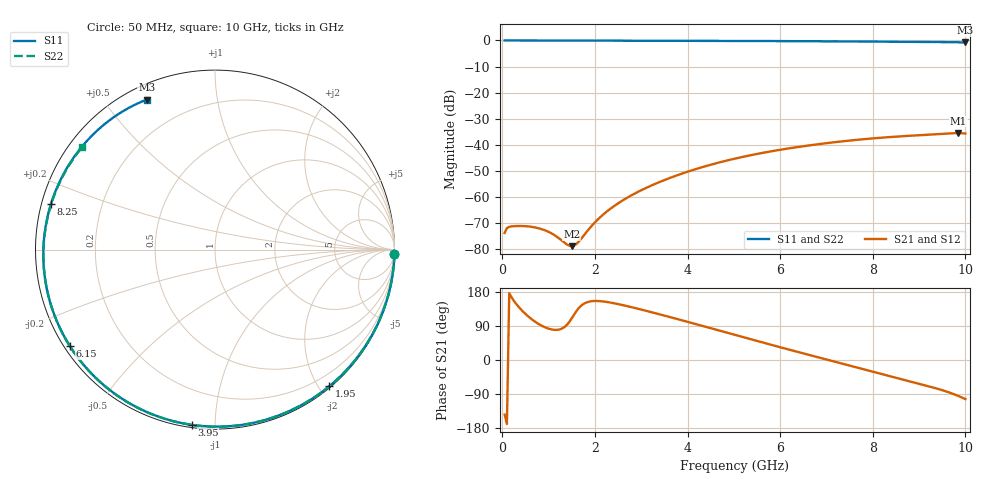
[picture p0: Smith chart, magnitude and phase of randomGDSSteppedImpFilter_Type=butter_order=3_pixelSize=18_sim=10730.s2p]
! freq	dB(S11)	phase(S11)	dB(S12)	phase(S12)
!  dB(S21)	phase(S21)	dB(S22)	phase(S22)
!S-par simulation data
#  GHz  S  DB  R 50
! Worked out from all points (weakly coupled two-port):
!   200 points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, 50 MHz to 10 GHz, reference 50 ohm
!   highest |S21| = -35.56 dB at 9.85 GHz (marker M1); lowest = -79.0 dB at 1.5 GHz (marker M2)
!   lowest |S11| = -0.7 dB at 10 GHz (marker M3), VSWR 23.37, Z = 3.02 + j32.1 ohm
!   |S11| at or under -10 dB: nowhere
!   |S22| runs from -0.6 to 0.0 dB; largest |S21 - S12| = 0
!   S11 on the Smith chart (normalised r, x): 50 MHz: 0, -87; 1.95 GHz: 0.02, -2.14; 3.95 GHz: 0.01, -0.88; 6.15 GHz: 0.02, -0.30; 8.25 GHz: 0.03, +0.14; 10 GHz: 0.06, +0.64
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0.05  -0.00 -1.3  -73.90 -144.0  -73.90 -144.0  -0.00 -1.3
0.1  -0.00 -2.6  -72.02 -169.0  -72.02 -169.0  -0.00 -2.7
0.2  -0.00 -5.3  -71.37 165.4  -71.37 165.4  -0.00 -5.4
0.7  -0.02 -18.3  -71.75 101.7  -71.75 101.7  -0.02 -18.7
1  -0.03 -26.1  -73.48 82.8  -73.48 82.8  -0.03 -26.5
1.5  -0.05 -38.8  -78.97 110.1  -78.97 110.1  -0.05 -39.4
1.6  -0.05 -41.4  -78.15 128.9  -78.15 128.9  -0.05 -41.9
1.75  -0.06 -45.1  -75.08 147.6  -75.08 147.6  -0.06 -45.7
1.95  -0.06 -50.1  -70.78 155.5  -70.78 155.5  -0.06 -50.7
2.2  -0.07 -56.3  -66.50 154.2  -66.50 154.2  -0.07 -56.9
2.55  -0.08 -64.8  -61.96 146.3  -61.96 146.3  -0.08 -65.3
3.4  -0.11 -84.9  -54.31 120.4  -54.31 120.4  -0.11 -85.0
3.95  -0.13 -97.6  -50.69 102.4  -50.69 102.4  -0.13 -97.2
5.05  -0.18 -122.1  -45.26 65.4  -45.26 65.4  -0.18 -120.2
6.15  -0.26 -146.4  -41.53 28.8  -41.53 28.8  -0.24 -141.9
6.7  -0.30 -158.7  -40.11 11.0  -40.11 11.0  -0.28 -152.4
7.5  -0.38 -177.3  -38.43 -14.6  -38.43 -14.6  -0.34 -167.7
8.25  -0.46 164.3  -37.24 -38.5  -37.24 -38.5  -0.41 177.8
8.35  -0.47 161.7  -37.11 -41.7  -37.11 -41.7  -0.42 175.9
9.1  -0.57 141.5  -36.28 -65.8  -36.28 -65.8  -0.49 161.0
9.85  -0.70 119.2  -35.56 -95.1  -35.56 -95.1  -0.57 145.5
10  -0.74 114.4  -35.74 -103.0  -35.74 -103.0  -0.59 142.3
